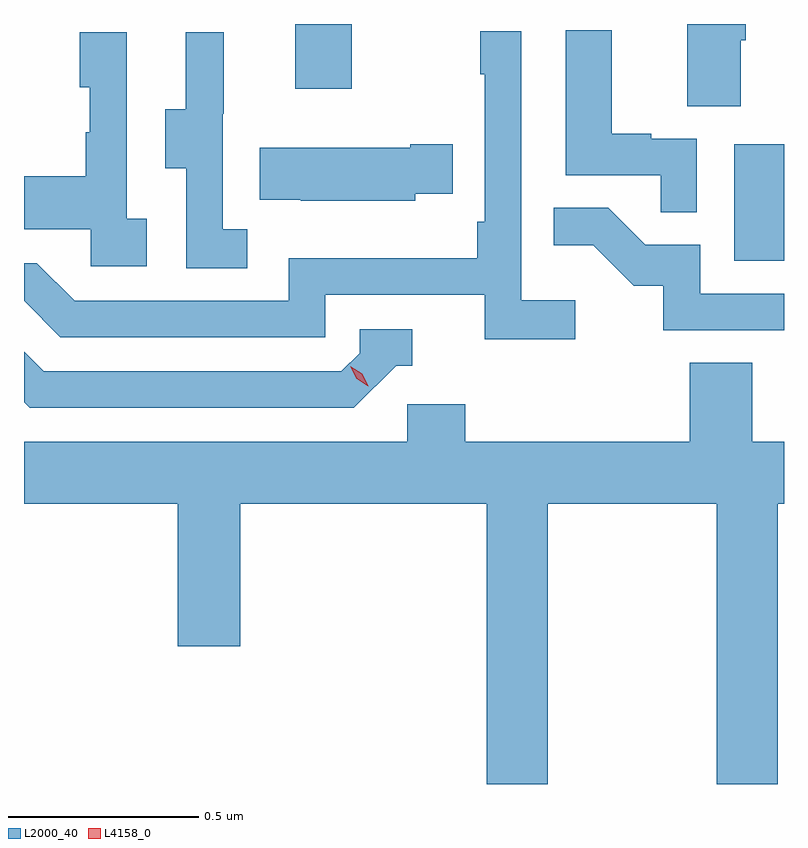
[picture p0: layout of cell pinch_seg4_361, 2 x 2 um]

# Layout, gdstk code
import gdstk
lib = gdstk.Library(unit=1e-6, precision=1e-09)
def R(c, l, rs):  # rectangles x0, y0, x1, y1
    for r in rs: c.add(gdstk.rectangle(r[:2], r[2:], *l))
def P(c, l, *ps):  # polygons
    for p in ps: c.add(gdstk.Polygon(p, *l))
L2000_40 = (2000, 40)
L4158_0 = (4158, 0)

pinch_seg4_361 = lib.new_cell('pinch_seg4_361')
R(pinch_seg4_361, L2000_40, [(1017.62,792.132,1017.751,792.439), (1016.465,792.585,1016.613,792.755)])
P(pinch_seg4_361, L2000_40, [(1017.637,792.712),(1017.65,792.712),(1017.65,792.755),(1017.497,792.755),(1017.497,792.538),(1017.637,792.538)],
  [(1017.522,792.453),(1017.401,792.453),(1017.401,792.466),(1017.298,792.466),(1017.298,792.739),(1017.176,792.739),(1017.176,792.357),(1017.427,792.357),(1017.427,792.259),(1017.522,792.259)],
  [(1017.202,792.028),(1017.06,792.028),(1017.06,792.736),(1016.952,792.736),(1016.952,792.623),(1016.964,792.623),(1016.964,792.235),(1016.944,792.235),(1016.944,792.139),(1016.448,792.139),(1016.448,792.027),(1015.884,792.027),(1015.785,792.126),(1015.751,792.126),(1015.751,792.027),(1015.847,791.931),(1016.544,791.931),(1016.544,792.042),(1016.963,792.042),(1016.963,791.926),(1017.202,791.926)],
  [(1016.338,792.215),(1016.274,792.215),(1016.274,792.519),(1016.276,792.519),(1016.276,792.733),(1016.177,792.733),(1016.177,792.531),(1016.123,792.531),(1016.123,792.376),(1016.178,792.376),(1016.178,792.112),(1016.338,792.112)],
  [(1016.074,792.242),(1016.022,792.242),(1016.022,792.733),(1015.898,792.733),(1015.898,792.588),(1015.924,792.588),(1015.924,792.47),(1015.914,792.47),(1015.914,792.355),(1015.751,792.355),(1015.751,792.215),(1015.926,792.215),(1015.926,792.117),(1016.074,792.117)],
  [(1016.781,792.308),(1016.879,792.308),(1016.879,792.438),(1016.768,792.438),(1016.768,792.43),(1016.371,792.43),(1016.371,792.293),(1016.479,792.293),(1016.479,792.29),(1016.781,792.29)],
  [(1017.751,792.045),(1017.531,792.045),(1017.531,792.174),(1017.386,792.174),(1017.288,792.272),(1017.145,792.272),(1017.145,792.173),(1017.249,792.173),(1017.356,792.066),(1017.433,792.066),(1017.433,791.949),(1017.751,791.949)],
  [(1016.73,791.856),(1016.773,791.856),(1016.773,791.952),(1016.634,791.952),(1016.634,791.889),(1016.586,791.841),(1015.803,791.841),(1015.751,791.893),(1015.751,791.76),(1015.766,791.745),(1016.619,791.745)],
  [(1017.129,791.492),(1017.574,791.492),(1017.574,790.755),(1017.734,790.755),(1017.734,791.492),(1017.751,791.492),(1017.751,791.656),(1017.668,791.656),(1017.668,791.864),(1017.503,791.864),(1017.503,791.656),(1016.912,791.656),(1016.912,791.754),(1016.76,791.754),(1016.76,791.656),(1015.751,791.656),(1015.751,791.492),(1016.156,791.492),(1016.156,791.118),(1016.32,791.118),(1016.32,791.492),(1016.969,791.492),(1016.969,790.755),(1017.129,790.755)])
P(pinch_seg4_361, L4158_0, [(1016.657,791.802),(1016.626,791.822),(1016.61,791.855),(1016.61,791.855),(1016.61,791.855),(1016.641,791.835),(1016.657,791.803),(1016.657,791.802)])

lib.write_gds('pinch_seg4_361.gds')
